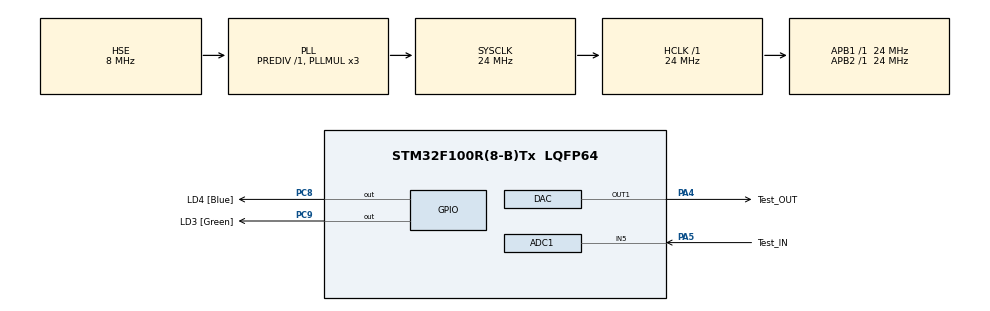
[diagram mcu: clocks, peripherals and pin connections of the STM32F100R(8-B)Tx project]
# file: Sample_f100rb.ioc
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ADC1.Channel-0\#ChannelRegularConversion=ADC_CHANNEL_5
ADC1.ContinuousConvMode=DISABLE
ADC1.ExternalTrigConv=ADC_EXTERNALTRIGCONV_T3_TRGO
ADC1.NbrOfConversionFlag=1
ADC1.Rank-0\#ChannelRegularConversion=1
ADC1.SamplingTime-0\#ChannelRegularConversion=ADC_SAMPLETIME_1CYCLE_5
ADC1.master=1
DAC.DAC_Trigger=DAC_TRIGGER_T3_TRGO
DAC.NoiseAmplitude=DAC_LFSRUNMASK_BITS11_0
DAC.WaveGeneration=NoiseWaveGeneration
Dma.ADC1.0.Direction=DMA_PERIPH_TO_MEMORY
Dma.ADC1.0.Instance=DMA1_Channel1
Dma.ADC1.0.MemDataAlignment=DMA_MDATAALIGN_HALFWORD
Dma.ADC1.0.MemInc=DMA_MINC_ENABLE
Dma.ADC1.0.Mode=DMA_CIRCULAR
Dma.ADC1.0.PeriphDataAlignment=DMA_PDATAALIGN_HALFWORD
Dma.ADC1.0.PeriphInc=DMA_PINC_DISABLE
Dma.ADC1.0.Priority=DMA_PRIORITY_MEDIUM
Dma.Request0=ADC1
Mcu.Family=STM32F1
Mcu.Name=STM32F100R(8-B)Tx
Mcu.Package=LQFP64
NVIC.ADC1_IRQn=true\:0\:0\:false\:false\:true\:true\:true
NVIC.DMA1_Channel1_IRQn=true\:0\:0\:false\:false\:true\:false\:true
NVIC.PriorityGroup=NVIC_PRIORITYGROUP_4
PA0-WKUP.Mode=SYS_WakeUp0
PA0-WKUP.Signal=SYS_WKUP
PA13.GPIO_Label=TMS_SWDIO
PA13.Mode=Serial_Wire
PA13.Signal=SYS_JTMS-SWDIO
PA14.GPIO_Label=TCK_SWCLK
PA14.Mode=Serial_Wire
PA14.Signal=SYS_JTCK-SWCLK
PA4.GPIO_Label=Test_OUT
PA4.Signal=COMP_DAC1_group
PA5.GPIO_Label=Test_IN
PA5.Signal=ADCx_IN5
PC14-OSC32_IN.Mode=LSE-External-Oscillator
PC14-OSC32_IN.Signal=RCC_OSC32_IN
PC15-OSC32_OUT.Mode=LSE-External-Oscillator
PC15-OSC32_OUT.Signal=RCC_OSC32_OUT
PC8.GPIO_Label=LD4 [Blue]
PC8.Signal=GPIO_Output
PC9.GPIO_Label=LD3 [Green]
PC9.Signal=GPIO_Output
PD0-OSC_IN.Mode=HSE-External-Oscillator
PD0-OSC_IN.Signal=RCC_OSC_IN
PD1-OSC_OUT.Mode=HSE-External-Oscillator
PD1-OSC_OUT.Signal=RCC_OSC_OUT
ProjectManager.HeapSize=0x200
ProjectManager.StackSize=0x400
ProjectManager.TargetToolchain=EWARM V8.32
RCC.AHBFreq_Value=24000000
RCC.APB1Freq_Value=24000000
RCC.APB1TimFreq_Value=24000000
RCC.APB2Freq_Value=24000000
RCC.APB2TimFreq_Value=24000000
RCC.HCLKFreq_Value=24000000
RCC.PLLMUL=RCC_PLL_MUL3
RCC.PLLSource=RCC_PLLSOURCE_HSE
RCC.SYSCLKFreq_VALUE=24000000
RCC.SYSCLKSource=RCC_SYSCLKSOURCE_PLLCLK
SH.ADCx_IN5.0=ADC1_IN5,IN5
SH.COMP_DAC1_group.0=DAC_OUT1,DAC_OUT1
TIM3.AutoReloadPreload=TIM_AUTORELOAD_PRELOAD_ENABLE
TIM3.Period=432
TIM3.Prescaler=432
TIM3.TIM_MasterOutputTrigger=TIM_TRGO_UPDATE
VP_TIM3_VS_ClockSourceINT.Mode=Internal
board=STM32VLDISCOVERY

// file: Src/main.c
/* USER CODE BEGIN Header */
/**
  ******************************************************************************
  * @file           : main.c
  * @brief          : Main program body
  ******************************************************************************
  * @attention
  *
  * <h2><center>&copy; Copyright (c) 2021 STMicroelectronics.
  * All rights reserved.</center></h2>
  *
  * This software component is licensed by ST under BSD 3-Clause license,
  * the "License"; You may not use this file except in compliance with the
  * License. You may obtain a copy of the License at:
  *                        opensource.org/licenses/BSD-3-Clause
  *
  ******************************************************************************
  */
/* USER CODE END Header */

#include "main.h"
#include "adc.h"
#include "dac.h"
#include "dma.h"
#include "tim.h"
#include "gpio.h"

/* USER CODE BEGIN Includes */
#include "arm_math.h"
#include "arm_const_structs.h"
#include "FIR_Calc_Module.h"
#include "Custom_Math.h"

/* USER CODE END Includes */

/* USER CODE BEGIN PV */
uint8_t ADC_buffer_Flag = 1;

int16_t * ADC_Data_buff_pointer;
int16_t * ADC_Data_pointer_1;
int16_t * ADC_Data_pointer_2;
int16_t * ADC_Data_Filtred_pointer_1;
int16_t * ADC_Data_Filtred_pointer_2;

int16_t * ADC_Data_Filtration_start_pointer;

int16_t * ADC_Data_Filtration_pointer[32];

float Filter_Coeff[32];
int16_t ADC_Data_buff[256];
int16_t ADC_Data[1024];
int16_t ADC_Data_Filtred[1024];
/* USER CODE END PV */

void SystemClock_Config(void);

int main(void)
{

  /* MCU Configuration--------------------------------------------------------*/

  /* Reset of all peripherals, Initializes the Flash interface and the Systick. */
  HAL_Init();

  /* Configure the system clock */
  SystemClock_Config();

  /* Initialize all configured peripherals */
  MX_GPIO_Init();
  MX_DMA_Init();
  MX_ADC1_Init();
  MX_DAC_Init();
  MX_TIM3_Init();
  /* USER CODE BEGIN 2 */
  //Calc_BAND_PASS_Coeff ( &Filter_Coeff[0], 8, 28, Filter_Points_32 );
  Calc_LOW_PASS_Coeff  ( &Filter_Coeff[0], 8, Filter_Points_32 );
  HAL_DAC_Start( &hdac, DAC_CHANNEL_1 );
  HAL_ADC_Start_DMA(&hadc1, (uint32_t*) &ADC_Data_buff[0], 256);
  HAL_TIM_Base_Start(&htim3);
  /* USER CODE END 2 */

  /* Infinite loop */
  /* USER CODE BEGIN WHILE */
  while (1)
  {
    if( ADC_buffer_Flag & (1<<1) )
    {

      ADC_buffer_Flag &= ~(1<<1);

      for (uint16_t iter = 0; iter < 896; iter++)
      {
        *ADC_Data_pointer_1++         = *ADC_Data_pointer_2++ ;
        *ADC_Data_Filtred_pointer_1++ = *ADC_Data_Filtred_pointer_2++ ;
      }

        for (uint16_t iter = 0; iter < 128; iter++)
      {
        *ADC_Data_pointer_1++ = *ADC_Data_buff_pointer++ ;
      }

      FIR_filtr ( &ADC_Data[0],
                  &ADC_Data_Filtred[0],
                   1024,
                  &Filter_Coeff[0],
                   32 );

//        ADC_Data_Filtration_start_pointer = &ADC_Data[864];
//
//        for ( uint8_t filtration = 0; filtration < 32; filtration++ )
//      {
//         ADC_Data_Filtration_pointer[filtration] = ADC_Data_Filtration_start_pointer++;
//      }
//
//        for (uint16_t iter = 0; iter < 128; iter++)
//      {
//
//        for ( uint8_t filtration = 0; filtration < 32; filtration++ )
//            {
//               *ADC_Data_Filtred_pointer_1 += (int16_t) *ADC_Data_Filtration_pointer[filtration]++  * Filter_Coeff[filtration] ;
//            }
//        ADC_Data_Filtred_pointer_1++;
//      }

    }
    /* USER CODE END WHILE */

  }
}

void SystemClock_Config(void)
{
  RCC_OscInitTypeDef RCC_OscInitStruct = {0};
  RCC_ClkInitTypeDef RCC_ClkInitStruct = {0};
  RCC_PeriphCLKInitTypeDef PeriphClkInit = {0};

  /** Initializes the CPU, AHB and APB busses clocks
  */
  RCC_OscInitStruct.OscillatorType = RCC_OSCILLATORTYPE_HSE;
  RCC_OscInitStruct.HSEState = RCC_HSE_ON;
  RCC_OscInitStruct.HSEPredivValue = RCC_HSE_PREDIV_DIV1;
  RCC_OscInitStruct.PLL.PLLState = RCC_PLL_ON;
  RCC_OscInitStruct.PLL.PLLSource = RCC_PLLSOURCE_HSE;
  RCC_OscInitStruct.PLL.PLLMUL = RCC_PLL_MUL3;
  if (HAL_RCC_OscConfig(&RCC_OscInitStruct) != HAL_OK)
  {
    Error_Handler();
  }
  /** Initializes the CPU, AHB and APB busses clocks
  */
  RCC_ClkInitStruct.ClockType = RCC_CLOCKTYPE_HCLK|RCC_CLOCKTYPE_SYSCLK
                              |RCC_CLOCKTYPE_PCLK1|RCC_CLOCKTYPE_PCLK2;
  RCC_ClkInitStruct.SYSCLKSource = RCC_SYSCLKSOURCE_PLLCLK;
  RCC_ClkInitStruct.AHBCLKDivider = RCC_SYSCLK_DIV1;
  RCC_ClkInitStruct.APB1CLKDivider = RCC_HCLK_DIV1;
  RCC_ClkInitStruct.APB2CLKDivider = RCC_HCLK_DIV1;

  if (HAL_RCC_ClockConfig(&RCC_ClkInitStruct, FLASH_LATENCY_0) != HAL_OK)
  {
    Error_Handler();
  }
  PeriphClkInit.PeriphClockSelection = RCC_PERIPHCLK_ADC;
  PeriphClkInit.AdcClockSelection = RCC_ADCPCLK2_DIV2;
  if (HAL_RCCEx_PeriphCLKConfig(&PeriphClkInit) != HAL_OK)
  {
    Error_Handler();
  }
}

void Error_Handler(void)
{
}

/************************ (C) COPYRIGHT STMicroelectronics *****END OF FILE****/
